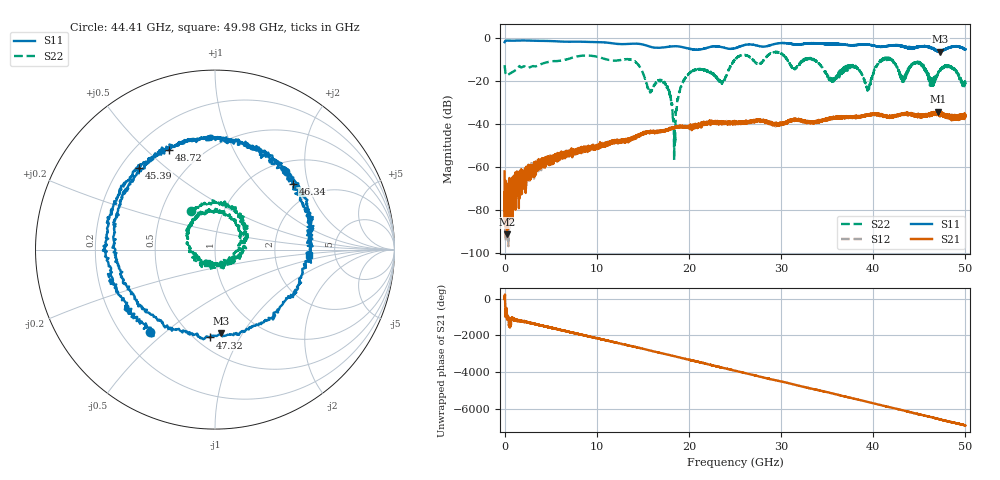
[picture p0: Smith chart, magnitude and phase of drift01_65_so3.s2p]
!Created with skrf (http://scikit-rf.org).
# Hz S RI R 50.0
!freq ReS11 ImS11 ReS21 ImS21 ReS12 ImS12 ReS22 ImS22
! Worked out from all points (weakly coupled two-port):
!   10001 points, 300 kHz to 50 GHz, reference 50 ohm
!   highest |S21| = -34.48 dB at 46.99 GHz (marker M1); lowest = -91.4 dB at 260.3 MHz (marker M2)
!   lowest |S11| = -6.6 dB at 47.28 GHz (marker M3), VSWR 2.76, Z = 33.9 - j40.6 ohm
!   |S11| at or under -10 dB: nowhere
!   |S22| runs from -56.9 to -6.6 dB; largest |S21 - S12| = 0.0037
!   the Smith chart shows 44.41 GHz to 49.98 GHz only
!   S11 on the Smith chart (normalised r, x): 44.41 GHz: 0.32, -0.45; 45.39 GHz: 0.27, +0.41; 46.34 GHz: 1.49, +1.62; 47.32 GHz: 0.59, -0.76; 48.72 GHz: 0.33, +0.59; 49.98 GHz: 3.19, -0.28
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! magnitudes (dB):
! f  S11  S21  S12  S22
! 300 kHz  -2.1  -62.2  -75.2  -12.9
! 260.3 MHz  -1.4  -91.4  -78.5  -17.5
! 8.335 GHz  -1.9  -51.8  -52.3  -8.5
! 16.67 GHz  -4.8  -43.5  -43.6  -19.9
! 17.74 GHz  -4.3  -42.9  -42.6  -24.3
! 18.45 GHz  -4.0  -41.8  -42.1  -44.5
! 19.96 GHz  -5.1  -41.6  -41.4  -17.0
! 23.62 GHz  -4.5  -39.5  -40.1  -21.0
! 25 GHz  -5.0  -39.7  -39.5  -10.2
! 33.34 GHz  -2.6  -39.5  -39.5  -10.0
! 39.44 GHz  -3.3  -36.1  -36.1  -23.7
! 41.67 GHz  -3.9  -36.5  -36.8  -9.9
! 43.19 GHz  -4.1  -35.5  -35.7  -20.0
! 44.41 GHz  -4.7  -35.5  -35.8  -12.0
! 45.39 GHz  -4.1  -36.6  -36.3  -13.3
! 46.34 GHz  -4.9  -35.4  -36.0  -22.4
! 46.99 GHz  -6.1  -34.5  -35.1  -17.1
! 47.28 GHz  -6.6  -35.1  -35.6  -14.8
! 47.32 GHz  -6.2  -35.9  -35.8  -15.1
! 48.72 GHz  -4.3  -37.1  -37.2  -14.5
! 49.98 GHz  -5.6  -36.2  -36.2  -21.3
! 50 GHz  -5.5  -36.3  -36.2  -22.1
